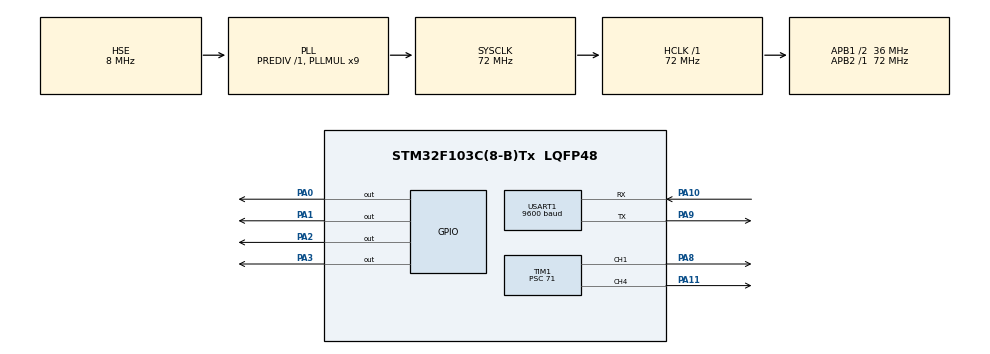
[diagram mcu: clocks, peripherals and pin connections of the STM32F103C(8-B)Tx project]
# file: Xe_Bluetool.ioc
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Mcu.Family=STM32F1
Mcu.Name=STM32F103C(8-B)Tx
Mcu.Package=LQFP48
NVIC.PriorityGroup=NVIC_PRIORITYGROUP_4
NVIC.USART1_IRQn=true\:0\:0\:false\:false\:true\:true\:true
PA0-WKUP.Signal=GPIO_Output
PA1.Signal=GPIO_Output
PA10.Mode=Asynchronous
PA10.Signal=USART1_RX
PA11.Signal=S_TIM1_CH4
PA13.Mode=Serial_Wire
PA13.Signal=SYS_JTMS-SWDIO
PA14.Mode=Serial_Wire
PA14.Signal=SYS_JTCK-SWCLK
PA2.Signal=GPIO_Output
PA3.Signal=GPIO_Output
PA8.Signal=S_TIM1_CH1
PA9.Mode=Asynchronous
PA9.Signal=USART1_TX
PD0-OSC_IN.Mode=HSE-External-Oscillator
PD0-OSC_IN.Signal=RCC_OSC_IN
PD1-OSC_OUT.Mode=HSE-External-Oscillator
PD1-OSC_OUT.Signal=RCC_OSC_OUT
ProjectManager.HeapSize=0x200
ProjectManager.StackSize=0x400
ProjectManager.TargetToolchain=MDK-ARM V5.27
RCC.AHBFreq_Value=72000000
RCC.APB1CLKDivider=RCC_HCLK_DIV2
RCC.APB1Freq_Value=36000000
RCC.APB1TimFreq_Value=72000000
RCC.APB2Freq_Value=72000000
RCC.APB2TimFreq_Value=72000000
RCC.HCLKFreq_Value=72000000
RCC.PLLMUL=RCC_PLL_MUL9
RCC.PLLSourceVirtual=RCC_PLLSOURCE_HSE
RCC.SYSCLKFreq_VALUE=72000000
RCC.SYSCLKSource=RCC_SYSCLKSOURCE_PLLCLK
RCC.USBFreq_Value=72000000
SH.S_TIM1_CH1.0=TIM1_CH1,PWM Generation1 CH1
SH.S_TIM1_CH4.0=TIM1_CH4,PWM Generation4 CH4
TIM1.Channel-PWM\ Generation1\ CH1=TIM_CHANNEL_1
TIM1.Channel-PWM\ Generation4\ CH4=TIM_CHANNEL_4
TIM1.Period=999
TIM1.Prescaler=71
USART1.BaudRate=9600
USART1.VirtualMode=VM_ASYNC
board=custom

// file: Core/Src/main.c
/* USER CODE BEGIN Header */
/**
  ******************************************************************************
  * @file           : main.c
  * @brief          : Main program body
  ******************************************************************************
  * @attention
  *
  * <h2><center>&copy; Copyright (c) 2021 STMicroelectronics.
  * All rights reserved.</center></h2>
  *
  * This software component is licensed by ST under BSD 3-Clause license,
  * the "License"; You may not use this file except in compliance with the
  * License. You may obtain a copy of the License at:
  *                        opensource.org/licenses/BSD-3-Clause
  *
  ******************************************************************************
  */
/* USER CODE END Header */
#include "main.h"

/* USER CODE BEGIN Includes */
uint32_t i;
/* USER CODE END Includes */

TIM_HandleTypeDef htim1;

UART_HandleTypeDef huart1;

void SystemClock_Config(void);
static void MX_GPIO_Init(void);
static void MX_TIM1_Init(void);
static void MX_USART1_UART_Init(void);

/* USER CODE BEGIN 0 */
uint8_t data;
uint32_t cnt1 = 0, cnt2 = 0, cnt3 = 0, cnt4 = 0;
uint32_t ispress0, ispress1, ispress2, ispress3, ispress4;
void HAL_UART_RxCpltCallback(UART_HandleTypeDef *huart){
	if(data == 'S'){
		ispress0 = 1;
		ispress1 = 0;
		ispress2 = 0;
		ispress3 = 0;
		ispress4 = 0;
	}
	else if(data == 'F'){
		ispress0 = 0;
		ispress1 = 1;
		ispress2 = 0;
		ispress3 = 0;
		ispress4 = 0;
	}
	else if(data == 'B'){
		ispress0 = 0;
		ispress1 = 0;
		ispress2 = 1;
		ispress3 = 0;
		ispress4 = 0;
	}
	else if(data == 'I'){
		ispress0 = 0;
		ispress1 = 1;
		ispress2 = 0;
		ispress3 = 1;
		ispress4 = 0;
	}
	else if(data == 'G'){
		ispress0 = 0;
		ispress1 = 1;
		ispress2 = 0;
		ispress3 = 0;
		ispress4 = 1;
	}
	else if(data == 'H'){
		ispress0 = 0;
		ispress1 = 0;
		ispress2 = 1;
		ispress3 = 0;
		ispress4 = 1;
	}
	else if(data == 'J'){
		ispress0 = 0;
		ispress1 = 0;
		ispress2 = 1;
		ispress3 = 1;
		ispress4 = 0;
	}
	else if(data == 'R'){
		ispress0 = 0;
		ispress1 = 0;
		ispress2 = 0;
		ispress3 = 1;
		ispress4 = 0;
	}
	else if(data == 'L'){
		ispress0 = 0;
		ispress1 = 0;
		ispress2 = 0;
		ispress3 = 0;
		ispress4 = 1;
	}
	HAL_UART_Receive_IT(&huart1, &data, 1);
}
void Control_DC1(uint32_t ccr, uint32_t x){
	HAL_GPIO_WritePin(GPIOA, GPIO_PIN_1, x);
	__HAL_TIM_SET_COMPARE(&htim1, TIM_CHANNEL_1, ccr);
}
void Control_DC2(uint32_t ccr, uint32_t x){
	HAL_GPIO_WritePin(GPIOA, GPIO_PIN_3, x);
	__HAL_TIM_SET_COMPARE(&htim1, TIM_CHANNEL_4, ccr);
}
/* USER CODE END 0 */

int main(void)
{

  /* MCU Configuration--------------------------------------------------------*/

  /* Reset of all peripherals, Initializes the Flash interface and the Systick. */
  HAL_Init();

  /* Configure the system clock */
  SystemClock_Config();

  /* Initialize all configured peripherals */
  MX_GPIO_Init();
  MX_TIM1_Init();
  MX_USART1_UART_Init();
  /* USER CODE BEGIN 2 */
	HAL_UART_Receive_IT(&huart1, &data, 1);
	HAL_TIM_PWM_Start(&htim1, TIM_CHANNEL_1);
	HAL_TIM_PWM_Start(&htim1, TIM_CHANNEL_4);
  /* USER CODE END 2 */

  /* Infinite loop */
  while (1)
  {

    /* USER CODE BEGIN 3 */

		if(ispress0 == 1 && ispress1 == 0 && ispress2 == 0 && ispress3 == 0 && ispress4 == 0){	//dung yen
			Control_DC1(0, 0);
			Control_DC2(0, 0);
		}
		else if(ispress0 == 0 && ispress1 == 1 && ispress2 == 0 && ispress3 == 0 && ispress4 == 0){	// di thang
			Control_DC1(1000, 0);
			Control_DC2(1000, 0);
		}
		else if(ispress0 == 0 && ispress1 == 0 && ispress2 == 1 && ispress3 == 0 && ispress4 == 0){	// di lui
			Control_DC1(0, 1);
			Control_DC2(0, 1);
		}
		else if(ispress0 == 0 && ispress1 == 0 && ispress2 == 0 && ispress3 == 1 && ispress4 == 0){   //quay phai
			Control_DC1(0, 0);
			Control_DC2(1000, 0);
		}
		else if(ispress0 == 0 && ispress1 == 0 && ispress2 == 0 && ispress3 == 0 && ispress4 == 1){		//quay trai
			Control_DC1(1000, 0);
			Control_DC2(0, 0);
		}
		else if(ispress0 == 0 && ispress1 == 1 && ispress2 == 0 && ispress3 == 1 && ispress4 == 0){		//Thang-phai
			Control_DC1(400, 0);
			Control_DC2(1000, 0);
		}
		else if(ispress0 == 0 && ispress1 == 1 && ispress2 == 0 && ispress3 == 0 && ispress4 == 1){		//Thang-trai
			Control_DC1(1000, 0);
			Control_DC2(600, 0);
		}
		else if(ispress0 == 0 && ispress1 == 0 && ispress2 == 1 && ispress3 == 1 && ispress4 == 0){		//lui-trai
			Control_DC1(400, 1);
			Control_DC2(0, 1);
		}
		else if(ispress0 == 0 && ispress1 == 0 && ispress2 == 1 && ispress3 == 0 && ispress4 == 1){		//lui-phai
			Control_DC1(0, 1);
			Control_DC2(400, 1);
		}

  }
  /* USER CODE END 3 */
}

void SystemClock_Config(void)
{
  RCC_OscInitTypeDef RCC_OscInitStruct = {0};
  RCC_ClkInitTypeDef RCC_ClkInitStruct = {0};

  /** Initializes the RCC Oscillators according to the specified parameters
  * in the RCC_OscInitTypeDef structure.
  */
  RCC_OscInitStruct.OscillatorType = RCC_OSCILLATORTYPE_HSE;
  RCC_OscInitStruct.HSEState = RCC_HSE_ON;
  RCC_OscInitStruct.HSEPredivValue = RCC_HSE_PREDIV_DIV1;
  RCC_OscInitStruct.HSIState = RCC_HSI_ON;
  RCC_OscInitStruct.PLL.PLLState = RCC_PLL_ON;
  RCC_OscInitStruct.PLL.PLLSource = RCC_PLLSOURCE_HSE;
  RCC_OscInitStruct.PLL.PLLMUL = RCC_PLL_MUL9;
  if (HAL_RCC_OscConfig(&RCC_OscInitStruct) != HAL_OK)
  {
    Error_Handler();
  }
  /** Initializes the CPU, AHB and APB buses clocks
  */
  RCC_ClkInitStruct.ClockType = RCC_CLOCKTYPE_HCLK|RCC_CLOCKTYPE_SYSCLK
                              |RCC_CLOCKTYPE_PCLK1|RCC_CLOCKTYPE_PCLK2;
  RCC_ClkInitStruct.SYSCLKSource = RCC_SYSCLKSOURCE_PLLCLK;
  RCC_ClkInitStruct.AHBCLKDivider = RCC_SYSCLK_DIV1;
  RCC_ClkInitStruct.APB1CLKDivider = RCC_HCLK_DIV2;
  RCC_ClkInitStruct.APB2CLKDivider = RCC_HCLK_DIV1;

  if (HAL_RCC_ClockConfig(&RCC_ClkInitStruct, FLASH_LATENCY_2) != HAL_OK)
  {
    Error_Handler();
  }
}

static void MX_TIM1_Init(void)
{

  TIM_MasterConfigTypeDef sMasterConfig = {0};
  TIM_OC_InitTypeDef sConfigOC = {0};
  TIM_BreakDeadTimeConfigTypeDef sBreakDeadTimeConfig = {0};

  htim1.Instance = TIM1;
  htim1.Init.Prescaler = 71;
  htim1.Init.CounterMode = TIM_COUNTERMODE_UP;
  htim1.Init.Period = 999;
  htim1.Init.ClockDivision = TIM_CLOCKDIVISION_DIV1;
  htim1.Init.RepetitionCounter = 0;
  htim1.Init.AutoReloadPreload = TIM_AUTORELOAD_PRELOAD_DISABLE;
  if (HAL_TIM_PWM_Init(&htim1) != HAL_OK)
  {
    Error_Handler();
  }
  sMasterConfig.MasterOutputTrigger = TIM_TRGO_RESET;
  sMasterConfig.MasterSlaveMode = TIM_MASTERSLAVEMODE_DISABLE;
  if (HAL_TIMEx_MasterConfigSynchronization(&htim1, &sMasterConfig) != HAL_OK)
  {
    Error_Handler();
  }
  sConfigOC.OCMode = TIM_OCMODE_PWM1;
  sConfigOC.Pulse = 0;
  sConfigOC.OCPolarity = TIM_OCPOLARITY_HIGH;
  sConfigOC.OCNPolarity = TIM_OCNPOLARITY_HIGH;
  sConfigOC.OCFastMode = TIM_OCFAST_DISABLE;
  sConfigOC.OCIdleState = TIM_OCIDLESTATE_RESET;
  sConfigOC.OCNIdleState = TIM_OCNIDLESTATE_RESET;
  if (HAL_TIM_PWM_ConfigChannel(&htim1, &sConfigOC, TIM_CHANNEL_1) != HAL_OK)
  {
    Error_Handler();
  }
  if (HAL_TIM_PWM_ConfigChannel(&htim1, &sConfigOC, TIM_CHANNEL_4) != HAL_OK)
  {
    Error_Handler();
  }
  sBreakDeadTimeConfig.OffStateRunMode = TIM_OSSR_DISABLE;
  sBreakDeadTimeConfig.OffStateIDLEMode = TIM_OSSI_DISABLE;
  sBreakDeadTimeConfig.LockLevel = TIM_LOCKLEVEL_OFF;
  sBreakDeadTimeConfig.DeadTime = 0;
  sBreakDeadTimeConfig.BreakState = TIM_BREAK_DISABLE;
  sBreakDeadTimeConfig.BreakPolarity = TIM_BREAKPOLARITY_HIGH;
  sBreakDeadTimeConfig.AutomaticOutput = TIM_AUTOMATICOUTPUT_DISABLE;
  if (HAL_TIMEx_ConfigBreakDeadTime(&htim1, &sBreakDeadTimeConfig) != HAL_OK)
  {
    Error_Handler();
  }
  HAL_TIM_MspPostInit(&htim1);

}

static void MX_USART1_UART_Init(void)
{

  huart1.Instance = USART1;
  huart1.Init.BaudRate = 9600;
  huart1.Init.WordLength = UART_WORDLENGTH_8B;
  huart1.Init.StopBits = UART_STOPBITS_1;
  huart1.Init.Parity = UART_PARITY_NONE;
  huart1.Init.Mode = UART_MODE_TX_RX;
  huart1.Init.HwFlowCtl = UART_HWCONTROL_NONE;
  huart1.Init.OverSampling = UART_OVERSAMPLING_16;
  if (HAL_UART_Init(&huart1) != HAL_OK)
  {
    Error_Handler();
  }

}

static void MX_GPIO_Init(void)
{
  GPIO_InitTypeDef GPIO_InitStruct = {0};

  /* GPIO Ports Clock Enable */
  __HAL_RCC_GPIOD_CLK_ENABLE();
  __HAL_RCC_GPIOA_CLK_ENABLE();

  /*Configure GPIO pin Output Level */
  HAL_GPIO_WritePin(GPIOA, GPIO_PIN_0|GPIO_PIN_1|GPIO_PIN_2|GPIO_PIN_3, GPIO_PIN_RESET);

  /*Configure GPIO pins : PA0 PA1 PA2 PA3 */
  GPIO_InitStruct.Pin = GPIO_PIN_0|GPIO_PIN_1|GPIO_PIN_2|GPIO_PIN_3;
  GPIO_InitStruct.Mode = GPIO_MODE_OUTPUT_PP;
  GPIO_InitStruct.Pull = GPIO_NOPULL;
  GPIO_InitStruct.Speed = GPIO_SPEED_FREQ_LOW;
  HAL_GPIO_Init(GPIOA, &GPIO_InitStruct);

}

void Error_Handler(void)
{
  __disable_irq();
  while (1)
  {
  }
}

/************************ (C) COPYRIGHT STMicroelectronics *****END OF FILE****/
